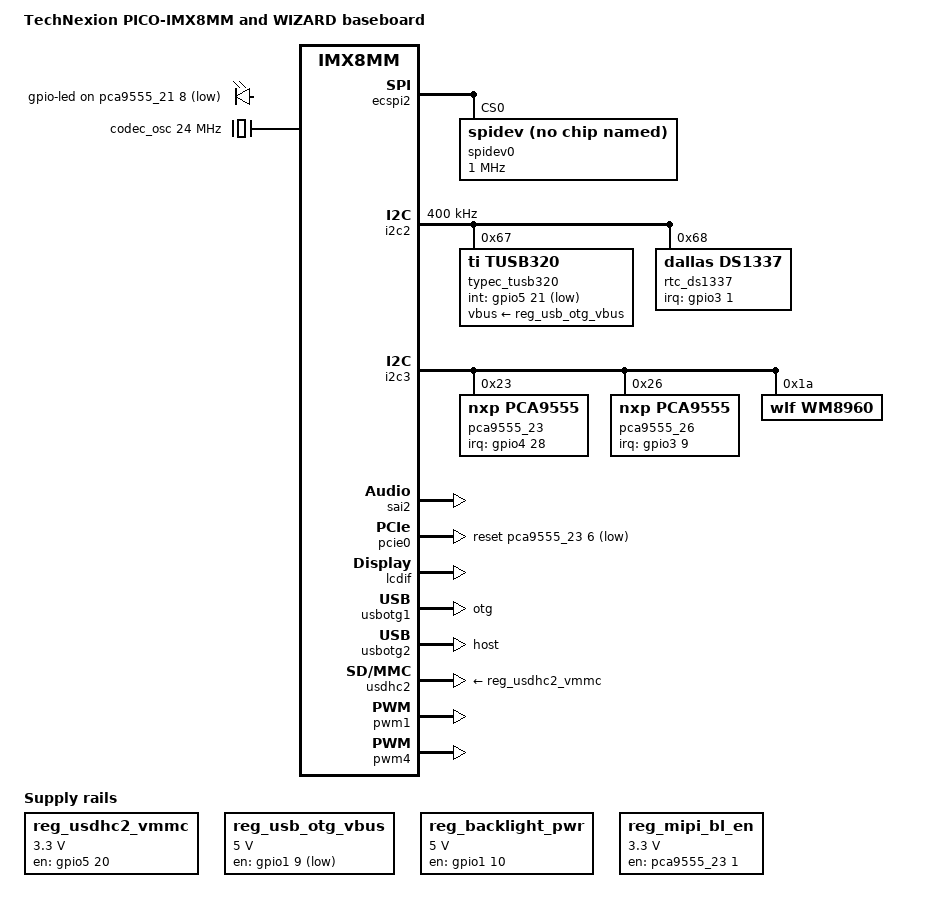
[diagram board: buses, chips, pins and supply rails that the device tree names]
/*
 * Copyright 2018 Technexion Ltd.
 * Copyright 2018 NXP
 *
 * Author: Richard Hu <richard.hu@technexion.com>
 *
 * This program is free software; you can redistribute it and/or
 * modify it under the terms of the GNU General Public License
 * as published by the Free Software Foundation; either version 2
 * of the License, or (at your option) any later version.
 *
 * This program is distributed in the hope that it will be useful,
 * but WITHOUT ANY WARRANTY; without even the implied warranty of
 * MERCHANTABILITY or FITNESS FOR A PARTICULAR PURPOSE.  See the
 * GNU General Public License for more details.
 */

/dts-v1/;

#include "imx8mm-pico.dtsi"

&gpio3 {
	pinctrl-names = "default";
	pinctrl-0 = <&pinctrl_gpio3>;
	gpio-line-names =
		"", "", "", "", "", "", "GPIO_P28", "GPIO_P30",
		"GPIO_P32", "", "", "", "", "", "", "",
		"GPIO_P26", "", "", "", "", "", "", "",
		"", "", "", "", "", "", "", "";
};

/ {
	model = "TechNexion PICO-IMX8MM and WIZARD baseboard";
	compatible = "fsl,imx8mm-pico", "fsl,imx8mm";

	regulators {
		compatible = "simple-bus";
		#address-cells = <1>;
		#size-cells = <0>;

		reg_usdhc2_vmmc: regulator-usdhc2 {
			pinctrl-names = "default";
			pinctrl-0 = <&pinctrl_usdhc2_power>;
			compatible = "regulator-fixed";
			regulator-name = "SD_3V3";
			regulator-min-microvolt = <3300000>;
			regulator-max-microvolt = <3300000>;
			gpio = <&gpio5 20 GPIO_ACTIVE_HIGH>;
			off-on-delay = <20000>;
			enable-active-high;
		};

		reg_usb_otg_vbus: usb_otg_vbus {
			pinctrl-names = "default";
			pinctrl-0 = <&pinctrl_otg_vbus>;
			compatible = "regulator-fixed";
			regulator-name = "usb_otg_vbus";
			regulator-min-microvolt = <5000000>;
			regulator-max-microvolt = <5000000>;
			gpio = <&gpio1 9 GPIO_ACTIVE_LOW>;
		};

		reg_backlight_pwr: regulator_blpwr {
			pinctrl-names = "default";
			pinctrl-0 = <&pinctrl_backlight_pwr>;
			compatible = "regulator-fixed";
			regulator-name = "backlight_pwr";
			regulator-min-microvolt = <5000000>;
			regulator-max-microvolt = <5000000>;
			gpio = <&gpio1 10 GPIO_ACTIVE_HIGH>;
			enable-active-high;
		};

		reg_mipi_bl_en: regulator_mipiblen {
                        pinctrl-names = "default";
                        compatible = "regulator-fixed";
                        regulator-name = "mipi_blen";
                        regulator-min-microvolt = <3300000>;
                        regulator-max-microvolt = <3300000>;
                        gpio = <&pca9555_23 1 GPIO_ACTIVE_HIGH>;
                        enable-active-high;
		};
	};

	backlight_mipi {
		compatible = "pwm-backlight";
		pwms = <&pwm1 0 50000 0>;
		brightness-levels = <0 36 72 108 144 180 216 255>;
		default-brightness-level = <6>;
		power-supply = <&reg_backlight_pwr>;
		status = "disabled";
	};

	leds {
		compatible = "gpio-leds";

		led {
			label = "gpio-led";
			gpios = <&pca9555_21 8 GPIO_ACTIVE_LOW>;
		};
	};

	sound-wm8960 {
		compatible = "fsl,imx-audio-wm8960";
		model = "wm8960-audio";
		cpu-dai = <&sai2>;
		codec-master;
		audio-codec = <&wm8960>;
		audio-routing =
			"Headphone Jack", "HP_L",
			"Headphone Jack", "HP_R",
			"Ext Spk", "SPK_LP",
			"Ext Spk", "SPK_LN",
			"Ext Spk", "SPK_RP",
			"Ext Spk", "SPK_RN",
			"LINPUT1", "Main MIC",
			"RINPUT1", "Main MIC",
			"Main MIC", "MICB";
		/* JD2: hp detect high for headphone*/
		hp-det = <2 0>;
	};

	clocks {
		codec_osc: aud_mclk {
			compatible = "fixed-clock";
			#clock-cells = <0>;
			clock-frequency = <24000000>;
			clock-output-names = "wm8960-mclk";
		};
	};
};

&iomuxc {
	pinctrl-names = "default";

	pinctrl_otg_vbus: otgvbusgrp {
		fsl,pins = <
			MX8MM_IOMUXC_GPIO1_IO09_GPIO1_IO9		0x19   /* USB OTG VBUS Enable */
		>;
	};
	pinctrl_backlight_pwr: backlight_pwrgrp {
		fsl,pins = <
			MX8MM_IOMUXC_GPIO1_IO10_GPIO1_IO10		0x19
		>;
	};
	pinctrl_dsi_pwm: dsi_pwm {
		fsl,pins = <
			MX8MM_IOMUXC_GPIO1_IO01_PWM1_OUT		0x16	/* DSI PWM */
		>;
	};
	pinctrl_fan_pwm: fan_pwm {
		fsl,pins = <
			MX8MM_IOMUXC_SAI3_MCLK_PWM4_OUT			0x16	/* PWM for FAN */
		>;
	};
	pinctrl_tusb320_irq: tusb320_irqgrp {
		fsl,pins = <
			MX8MM_IOMUXC_I2C4_SDA_GPIO5_IO21		0x41	/* GPIO_P48	*/
		>;
	};
	pinctrl_csi_rst: csi_rst_grp {
		fsl,pins = <
			MX8MM_IOMUXC_GPIO1_IO05_GPIO1_IO5		0x19
			MX8MM_IOMUXC_GPIO1_IO14_CCMSRCGPCMIX_CLKO1	0x59
		>;
	};
	pinctrl_touch_irq: touch_irqgrp {
		fsl,pins = <
			MX8MM_IOMUXC_GPIO1_IO07_GPIO1_IO7	0x19   /* Touch INT */
		>;
	};
	pinctrl_tfa98xx: tfa98xx_ctrlgrp {
		fsl,pins = <
			MX8MM_IOMUXC_ECSPI2_SCLK_GPIO5_IO10	0x19 /* RST */
			MX8MM_IOMUXC_ECSPI2_MISO_GPIO5_IO12	0x19 /* INT */
		>;
	};
	pinctrl_gpio3: gpio3grp {
		fsl,pins = <
			MX8MM_IOMUXC_NAND_READY_B_GPIO3_IO16	0x41 /* GPIO_P26, CLIX1_RST */
			MX8MM_IOMUXC_NAND_DATA00_GPIO3_IO6		0x41 /* GPIO_P28, CLIX1_INT0 */
			MX8MM_IOMUXC_NAND_DATA01_GPIO3_IO7		0x41 /* GPIO_P30, CLIX2_RST */
			MX8MM_IOMUXC_NAND_DATA02_GPIO3_IO8		0x41 /* GPIO_P32, CLIX2_INT0 */
		>;
	};
	pinctrl_gpio_key_voicehat: gpiokey_voicehatgrp {
		fsl,pins = <
			MX8MM_IOMUXC_SPDIF_RX_GPIO5_IO4			0x41 /* PWM2, KEY_PLAY on VoiceHat */
			MX8MM_IOMUXC_GPIO1_IO06_GPIO1_IO6		0x41 /* ECSPI2_SS1, KEY_PAIR on VoiceHat */
			MX8MM_IOMUXC_SPDIF_TX_GPIO5_IO3			0x41 /* PWM3, KEY_ACT on VoiceHat */
			MX8MM_IOMUXC_ECSPI2_SS0_GPIO5_IO13		0x41 /* ECSPI2_SS0,  KEY_UP on VoiceHat */
		>;
	};
	pinctrl_pca9555_21: pca9555_21grp {
		fsl,pins = <
			MX8MM_IOMUXC_NAND_ALE_GPIO3_IO0		0x19 /* GPIO_P25, irq */
		>;
	};
	pinctrl_pca9555_23: pca9555_23grp {
		fsl,pins = <
			MX8MM_IOMUXC_SAI3_RXFS_GPIO4_IO28	0x19 /* GPIO_P42, irq */
		>;
	};
	pinctrl_pca9555_26: pca9555_26grp {
		fsl,pins = <
			MX8MM_IOMUXC_NAND_DATA03_GPIO3_IO9	0x19 /* GPIO_P34, irq */
		>;
	};
	pinctrl_rtc_ds1337_irq: pinctrl_rtc_ds1337_irqgrp {
		fsl,pins = <
			MX8MM_IOMUXC_NAND_CE0_B_GPIO3_IO1	0x19 /* GPIO_P24, irq */
		>;
	};
	pinctrl_usdhc2_power: pinctrl_usdhc2_powergrp {
		fsl,pins = <
			MX8MM_IOMUXC_I2C4_SCL_GPIO5_IO20	0x41 /* GPIO_P44 */
		>;
	};
};

&ecspi2 {
	status = "okay";

	spidev0: spi@0 {
		reg = <0>;
		compatible = "rohm,dh2228fv";
		spi-max-frequency = <1000000>;
	};
};

&i2c2 {
	clock-frequency = <400000>;
	pinctrl-names = "default";
	pinctrl-0 = <&pinctrl_i2c2>;
	status = "okay";

	typec_tusb320:tusb320@67 {
		compatible = "ti,tusb320";
		pinctrl-names = "default";
		pinctrl-0 = <&pinctrl_tusb320_irq>;
		reg = <0x67>;
		vbus-supply = <&reg_usb_otg_vbus>;
		tusb320,int-gpio = <&gpio5 21 GPIO_ACTIVE_LOW>;
		tusb320,select-mode = <0>;
		tusb320,dfp-power = <0>;
	};

	rtc_ds1337: ds1337@68 {
		compatible = "dallas,ds1337";
		pinctrl-names = "default";
		pinctrl-0 = <&pinctrl_rtc_ds1337_irq>;
		reg = <0x68>;
		wakeup-source;
		interrupt-parent = <&gpio3>;
		interrupts = <1 0>;
	};
};

&i2c3 {
	status = "okay";

	pca9555_21: pinctrl_pca9555_21@21 {
		compatible = "nxp,pca9555";
		pinctrl-names = "default";
		pinctrl-0 = <&pinctrl_pca9555_21>;
		interrupt-parent = <&gpio3>;
		interrupts = <0 IRQ_TYPE_LEVEL_LOW>;
		reg =<0x21>;
		gpio-controller;
		#gpio-cells = <2>;
		interrupt-controller;
		#interrupt-cells = <2>;
	};

	pca9555_23: pca9555_23@23 {
		compatible = "nxp,pca9555";
		pinctrl-names = "default";
		pinctrl-0 = <&pinctrl_pca9555_23>;
		interrupt-parent = <&gpio4>;
		interrupts = <28 IRQ_TYPE_LEVEL_LOW>;
		reg =<0x23>;
		gpio-controller;
		#gpio-cells = <2>;
		interrupt-controller;
		#interrupt-cells = <2>;
	};

	pca9555_26: pca9555_26@26 {
		compatible = "nxp,pca9555";
		pinctrl-names = "default";
		pinctrl-0 = <&pinctrl_pca9555_26>;
		interrupt-parent = <&gpio3>;
		interrupts = <9 IRQ_TYPE_LEVEL_LOW>;
		reg =<0x26>;
		gpio-controller;
		#gpio-cells = <2>;
		interrupt-controller;
		#interrupt-cells = <2>;
	};

	wm8960: codec@1a {
		compatible = "wlf,wm8960";
		#sound-dai-cells = <0>;
		reg = <0x1a>;
		clocks = <&codec_osc>;
		clock-names = "mclk";
		wlf,shared-lrclk;
		wlf,fixed-mclk;
	};
};

&sai2 {
	status = "okay";
};

&csi1_bridge {
	fsl,mipi-mode;
	status = "disabled";
	port {
		csi1_ep: endpoint {
			remote-endpoint = <&csi1_mipi_ep>;
		};
	};
};

&mipi_csi_1 {
	#address-cells = <1>;
	#size-cells = <0>;
	status = "disabled";
	port {
		csi1_mipi_ep: endpoint@2 {
			remote-endpoint = <&csi1_ep>;
		};
	};
};

&pcie0{
	clkreq-gpio = <&pca9555_23 7 GPIO_ACTIVE_LOW>;
	disable-gpio = <&pca9555_23 4 GPIO_ACTIVE_LOW>;
	reset-gpio = <&pca9555_23 6 GPIO_ACTIVE_LOW>;
	ext_osc = <1>;
	status = "okay";
};

&lcdif {
	status = "okay";
};

&usbotg1 {
	dr_mode = "otg";
	extcon = <0>, <&typec_tusb320>;
	status = "okay";
};

&usbotg2 {
	dr_mode = "host";
	status = "okay";
};

/* SD card on CLIX connector */
&usdhc2 {
	vmmc-supply = <&reg_usdhc2_vmmc>;
	no-1-8-v;
	status = "okay";
};

&pwm1 {
	pinctrl-names = "default";
	pinctrl-0 = <&pinctrl_dsi_pwm>;
	status = "okay";
};

&pwm4 {
	pinctrl-names = "default";
	pinctrl-0 = <&pinctrl_fan_pwm>;
	status = "okay";
};
